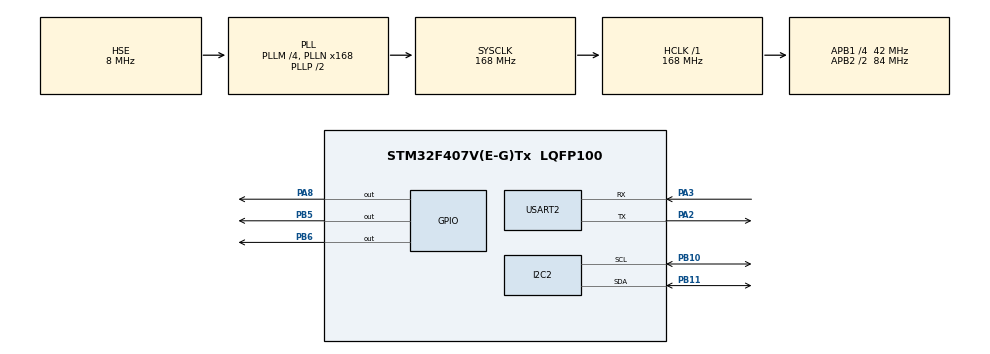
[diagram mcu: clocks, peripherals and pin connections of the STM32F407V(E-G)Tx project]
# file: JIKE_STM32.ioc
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I2C2.I2C_Mode=I2C_Fast
Mcu.Family=STM32F4
Mcu.Name=STM32F407V(E-G)Tx
Mcu.Package=LQFP100
NVIC.PriorityGroup=NVIC_PRIORITYGROUP_4
NVIC.TIM6_DAC_IRQn=true\:0\:0\:false\:false\:true\:true\:true\:true
PA13.Mode=Serial_Wire
PA13.Signal=SYS_JTMS-SWDIO
PA14.Mode=Serial_Wire
PA14.Signal=SYS_JTCK-SWCLK
PA2.Mode=Asynchronous
PA2.Signal=USART2_TX
PA3.Mode=Asynchronous
PA3.Signal=USART2_RX
PA8.Signal=GPIO_Output
PB10.Mode=I2C
PB10.Signal=I2C2_SCL
PB11.Mode=I2C
PB11.Signal=I2C2_SDA
PB5.Signal=GPIO_Output
PB6.Signal=GPIO_Output
PH0-OSC_IN.Mode=HSE-External-Oscillator
PH0-OSC_IN.Signal=RCC_OSC_IN
PH1-OSC_OUT.Mode=HSE-External-Oscillator
PH1-OSC_OUT.Signal=RCC_OSC_OUT
ProjectManager.HeapSize=0x2000
ProjectManager.StackSize=0x4000
ProjectManager.TargetToolchain=MDK-ARM V5.32
RCC.48MHZClocksFreq_Value=84000000
RCC.AHBFreq_Value=168000000
RCC.APB1CLKDivider=RCC_HCLK_DIV4
RCC.APB1Freq_Value=42000000
RCC.APB1TimFreq_Value=84000000
RCC.APB2CLKDivider=RCC_HCLK_DIV2
RCC.APB2Freq_Value=84000000
RCC.APB2TimFreq_Value=168000000
RCC.CortexFreq_Value=168000000
RCC.HCLKFreq_Value=168000000
RCC.HSE_VALUE=8000000
RCC.HSI_VALUE=16000000
RCC.LSE_VALUE=32768
RCC.PLLM=4
RCC.PLLN=168
RCC.PLLSourceVirtual=RCC_PLLSOURCE_HSE
RCC.SYSCLKFreq_VALUE=168000000
RCC.SYSCLKSource=RCC_SYSCLKSOURCE_PLLCLK
RCC.VCOOutputFreq_Value=336000000
TIM6.AutoReloadPreload=TIM_AUTORELOAD_PRELOAD_ENABLE
TIM6.Period=1000-1
TIM6.Prescaler=84-1
USART2.VirtualMode=VM_ASYNC
VP_TIM6_VS_ClockSourceINT.Mode=Enable_Timer
board=custom

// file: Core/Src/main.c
/* USER CODE BEGIN Header */
/**
  ******************************************************************************
  * @file           : main.c
  * @brief          : Main program body
  ******************************************************************************
  * @attention
  *
  * Copyright (c) 2024 STMicroelectronics.
  * All rights reserved.
  *
  * This software is licensed under terms that can be found in the LICENSE file
  * in the root directory of this software component.
  * If no LICENSE file comes with this software, it is provided AS-IS.
  *
  ******************************************************************************
  */
/* USER CODE END Header */
#include "main.h"
#include "i2c.h"
#include "tim.h"
#include "usart.h"
#include "gpio.h"

/* USER CODE BEGIN Includes */
#include "stdio.h"
#include "string.h"
#include "12864.h"
#include "font.h"
#include "flash.h"
#include "lvgl.h"
#include "lv_port_disp_template.h"
#define DATA_BU_SIZE 1024  // 用户定义的缓冲区大小
/* USER CODE END Includes */

/* USER CODE BEGIN PTD */
uint8_t rs485_buff[256];
#define RXBUFFERSIZE                 100
uint8_t rx_len;

extern uint8_t Chinses_16[];
extern uint8_t Chinses_16_2[];
/* USER CODE END PTD */

void SystemClock_Config(void);

/* USER CODE BEGIN 0 */
int len;
	void str_chinese(int x,int y,char str[])
	{
		int n=0;
		char data_temp[50];
		strcpy(data_temp,str);
		const char s[2] = "-";
		char *token;
		// 获取第一个子字符串
		token = strtok(str, s);
		// 继续获取其他的子字符串
		while(token != NULL) {
		printf("%s\n", token);
		DZ_Show_GB2312(x+16*n,y,token);
		n++;
		if(x+16*n>112)
		{
			OLED_Set_Pos(0,y+=2);
			n=0;
		}
		token = strtok(NULL, s);
		}
	}

void lv_demo_button(void)
{
    lv_style_t style;

    lv_style_init(&style);
    lv_style_set_bg_color(&style, lv_color_white());
    lv_style_set_outline_width(&style, 2);

    lv_obj_set_style_bg_color(lv_scr_act(),   lv_color_white(), 0);

    lv_obj_t * btn = lv_btn_create(lv_scr_act());     /*Add a button the current screen*/
    lv_obj_set_pos(btn, 20, 20);                            /*Set its position*/
    lv_obj_set_size(btn, 120, 50);                          /*Set its size*/
    lv_obj_add_style(btn,&style,LV_STATE_DEFAULT);

    lv_obj_t * label = lv_label_create(btn);          /*Add a label to the button*/
    lv_label_set_text(label, "Button");                     /*Set the labels text*/
    lv_obj_set_style_text_color(label,lv_color_black(),0);
    lv_obj_center(label);
}

lv_color_t c;
/* USER CODE END 0 */

int main(void)
{

  /* MCU Configuration--------------------------------------------------------*/

  /* Reset of all peripherals, Initializes the Flash interface and the Systick. */
  HAL_Init();

  /* Configure the system clock */
  SystemClock_Config();

  /* USER CODE BEGIN SysInit */
/* USER CODE BEGIN 1 */
/* USER CODE END 1 */

  /* USER CODE END SysInit */

  /* Initialize all configured peripherals */
  MX_GPIO_Init();
  MX_I2C2_Init();
  MX_USART2_UART_Init();
  MX_TIM6_Init();
  /* USER CODE BEGIN 2 */
		if(HAL_UART_Receive_IT(&huart2,rs485_buff,1)!=HAL_OK);//接收中断使能
		//使能定时器中断
		    HAL_TIM_Base_Start_IT(&htim6);
		HAL_Delay(100);
		OLED_Init();

		OLED_NewFrame();
		OLED_ShowFrame();
		OLED_Set_Pos(64,4);
		OLED_Test();
//		lv_init();
//		lv_port_disp_init();
		HAL_Delay(100);
#if	0 //测试程序
		str_chinese(0,0,"上-变-频-器-辨-识-磁-极-位-置-出-错-网-络-芯-片");
		str_chinese(0,2,"驱-动-机-输-入-缺-相");
		str_chinese(0,4,"欠-变-频-器-电-压-报-警");
		str_chinese(0,6,"运-行-反-馈");
#endif

  /* USER CODE END 2 */

  /* Infinite loop */
  while (1)
  {
		HAL_Delay(1000);

//		lv_demo_button();
    /* USER CODE BEGIN 3 */
//		for(uint8_t i=0;i<64;i++)
//		{
//				OLED_NewFrame();
//				OLED_DrawPoint(i*2,i,1);
//				OLED_ShowFrame();
//		}

		/* Infinite loop */
/* USER CODE BEGIN WHILE */
  /* USER CODE END WHILE */

  /* USER CODE BEGIN 3 */

	}
  /* USER CODE END 3 */
}

void SystemClock_Config(void)
{
  RCC_OscInitTypeDef RCC_OscInitStruct = {0};
  RCC_ClkInitTypeDef RCC_ClkInitStruct = {0};

  /** Configure the main internal regulator output voltage
  */
  __HAL_RCC_PWR_CLK_ENABLE();
  __HAL_PWR_VOLTAGESCALING_CONFIG(PWR_REGULATOR_VOLTAGE_SCALE1);

  /** Initializes the RCC Oscillators according to the specified parameters
  * in the RCC_OscInitTypeDef structure.
  */
  RCC_OscInitStruct.OscillatorType = RCC_OSCILLATORTYPE_HSE;
  RCC_OscInitStruct.HSEState = RCC_HSE_ON;
  RCC_OscInitStruct.PLL.PLLState = RCC_PLL_ON;
  RCC_OscInitStruct.PLL.PLLSource = RCC_PLLSOURCE_HSE;
  RCC_OscInitStruct.PLL.PLLM = 4;
  RCC_OscInitStruct.PLL.PLLN = 168;
  RCC_OscInitStruct.PLL.PLLP = RCC_PLLP_DIV2;
  RCC_OscInitStruct.PLL.PLLQ = 4;
  if (HAL_RCC_OscConfig(&RCC_OscInitStruct) != HAL_OK)
  {
    Error_Handler();
  }

  /** Initializes the CPU, AHB and APB buses clocks
  */
  RCC_ClkInitStruct.ClockType = RCC_CLOCKTYPE_HCLK|RCC_CLOCKTYPE_SYSCLK
                              |RCC_CLOCKTYPE_PCLK1|RCC_CLOCKTYPE_PCLK2;
  RCC_ClkInitStruct.SYSCLKSource = RCC_SYSCLKSOURCE_PLLCLK;
  RCC_ClkInitStruct.AHBCLKDivider = RCC_SYSCLK_DIV1;
  RCC_ClkInitStruct.APB1CLKDivider = RCC_HCLK_DIV4;
  RCC_ClkInitStruct.APB2CLKDivider = RCC_HCLK_DIV2;

  if (HAL_RCC_ClockConfig(&RCC_ClkInitStruct, FLASH_LATENCY_5) != HAL_OK)
  {
    Error_Handler();
  }
}

/* USER CODE BEGIN 4 */

void HAL_UART_TxCpltCallback(UART_HandleTypeDef *huart)
{
	if(huart== &huart2)
		HAL_UART_Receive_IT(&huart2,rs485_buff,RXBUFFERSIZE);
}

void HAL_UART_RxCpltCallback(UART_HandleTypeDef *huart)
{
		HAL_UART_Receive_IT(&huart2,rs485_buff,1);
}

void HAL_TIM_PeriodElapsedCallback(TIM_HandleTypeDef *htim)
{
			HAL_GPIO_TogglePin(GPIOA,GPIO_PIN_8);
//			lv_tick_inc(1);
//			lv_task_handler();
}

 #ifdef __GNUC__
     #define PUTCHAR_PROTOTYPE int _io_putchar(int ch)
 #else
     #define PUTCHAR_PROTOTYPE int fputc(int ch, FILE *f)
 #endif /* __GNUC__*/

 /******************************************************************
     *@brief  Retargets the C library printf  function to the USART.
     *@param  None
     *@retval None
 ******************************************************************/
 PUTCHAR_PROTOTYPE
 {
     HAL_UART_Transmit(&huart2, (uint8_t *)&ch,1,0xFFFF);
     return ch;
 }

/* USER CODE END 4 */

void Error_Handler(void)
{
  __disable_irq();
  while (1)
  {
  }
}
